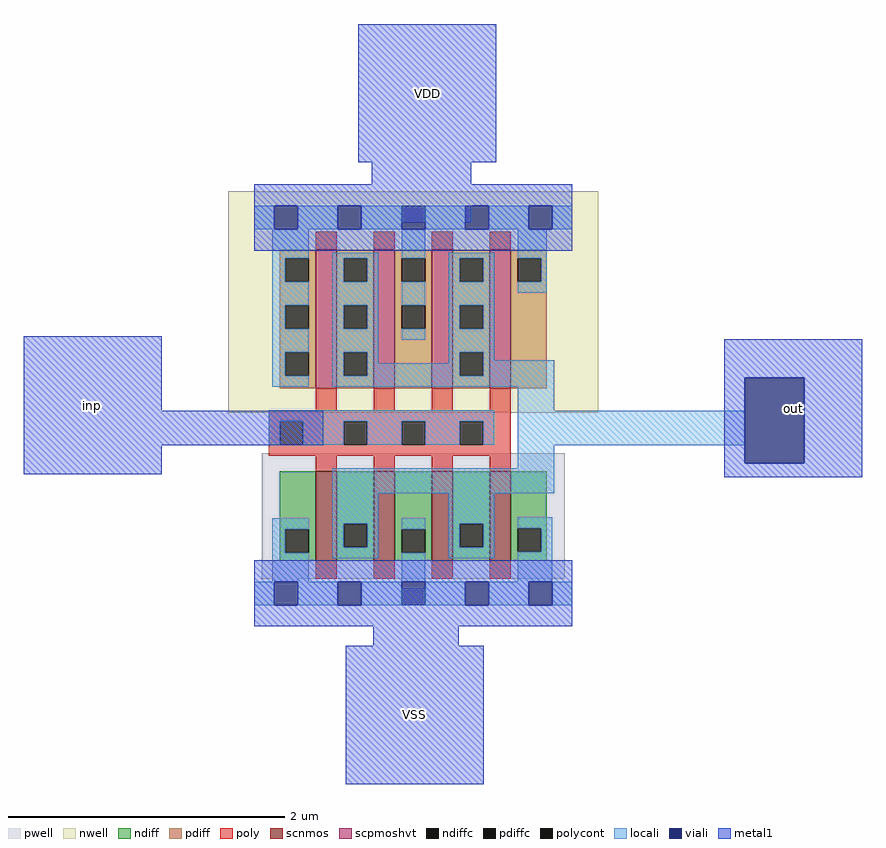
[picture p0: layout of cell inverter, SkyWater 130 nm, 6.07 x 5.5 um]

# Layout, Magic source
magic
tech sky130A
<< locali >>
rect 628 -276 781 -251
<< viali >>
rect 781 -289 824 -227
<< metal1 >>
rect 501 -71 601 29
rect 511 -115 583 -71
rect 259 -251 359 -197
rect 766 -227 866 -199
rect 259 -276 476 -251
rect 259 -297 359 -276
rect 766 -289 781 -227
rect 824 -289 866 -227
rect 766 -299 866 -289
rect 512 -421 574 -379
rect 492 -521 592 -421
use sky130_fd_sc_hd__inv_4  x4 $PDKPATH/libs.ref/sky130_fd_sc_hd/mag
transform 1 0 426 0 1 -383
box -19 -24 249 296
<< labels >>
flabel metal1 501 -71 601 29 0 FreeSans 128 0 0 0 VDD
port 0 nsew
flabel metal1 492 -521 592 -421 0 FreeSans 128 0 0 0 VSS
port 3 nsew
flabel metal1 259 -297 359 -197 0 FreeSans 128 0 0 0 inp
port 1 nsew
flabel metal1 766 -299 866 -199 0 FreeSans 128 0 0 0 out
port 2 nsew
<< end >>

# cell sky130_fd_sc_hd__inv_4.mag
magic
tech sky130A
magscale 1 2
<< nwell >>
rect -38 261 498 582
<< pwell >>
rect 11 21 449 203
rect 29 -17 63 21
<< scnmos >>
rect 89 47 119 177
rect 173 47 203 177
rect 257 47 287 177
rect 341 47 371 177
<< scpmoshvt >>
rect 89 297 119 497
rect 173 297 203 497
rect 257 297 287 497
rect 341 297 371 497
<< ndiff >>
rect 37 93 89 177
rect 37 59 45 93
rect 79 59 89 93
rect 37 47 89 59
rect 119 101 173 177
rect 119 67 129 101
rect 163 67 173 101
rect 119 47 173 67
rect 203 93 257 177
rect 203 59 213 93
rect 247 59 257 93
rect 203 47 257 59
rect 287 101 341 177
rect 287 67 297 101
rect 331 67 341 101
rect 287 47 341 67
rect 371 94 423 177
rect 371 60 381 94
rect 415 60 423 94
rect 371 47 423 60
<< pdiff >>
rect 37 485 89 497
rect 37 451 45 485
rect 79 451 89 485
rect 37 417 89 451
rect 37 383 45 417
rect 79 383 89 417
rect 37 349 89 383
rect 37 315 45 349
rect 79 315 89 349
rect 37 297 89 315
rect 119 485 173 497
rect 119 451 129 485
rect 163 451 173 485
rect 119 417 173 451
rect 119 383 129 417
rect 163 383 173 417
rect 119 349 173 383
rect 119 315 129 349
rect 163 315 173 349
rect 119 297 173 315
rect 203 485 257 497
rect 203 451 213 485
rect 247 451 257 485
rect 203 417 257 451
rect 203 383 213 417
rect 247 383 257 417
rect 203 297 257 383
rect 287 485 341 497
rect 287 451 297 485
rect 331 451 341 485
rect 287 417 341 451
rect 287 383 297 417
rect 331 383 341 417
rect 287 349 341 383
rect 287 315 297 349
rect 331 315 341 349
rect 287 297 341 315
rect 371 485 423 497
rect 371 451 381 485
rect 415 451 423 485
rect 371 297 423 451
<< ndiffc >>
rect 45 59 79 93
rect 129 67 163 101
rect 213 59 247 93
rect 297 67 331 101
rect 381 60 415 94
<< pdiffc >>
rect 45 451 79 485
rect 45 383 79 417
rect 45 315 79 349
rect 129 451 163 485
rect 129 383 163 417
rect 129 315 163 349
rect 213 451 247 485
rect 213 383 247 417
rect 297 451 331 485
rect 297 383 331 417
rect 297 315 331 349
rect 381 451 415 485
<< poly >>
rect 89 497 119 523
rect 173 497 203 523
rect 257 497 287 523
rect 341 497 371 523
rect 89 265 119 297
rect 173 265 203 297
rect 257 265 287 297
rect 341 265 371 297
rect 21 249 371 265
rect 21 215 37 249
rect 71 215 129 249
rect 163 215 213 249
rect 247 215 297 249
rect 331 215 371 249
rect 21 199 371 215
rect 89 177 119 199
rect 173 177 203 199
rect 257 177 287 199
rect 341 177 371 199
rect 89 21 119 47
rect 173 21 203 47
rect 257 21 287 47
rect 341 21 371 47
<< polycont >>
rect 37 215 71 249
rect 129 215 163 249
rect 213 215 247 249
rect 297 215 331 249
<< locali >>
rect 0 527 29 561
rect 63 527 121 561
rect 155 527 213 561
rect 247 527 305 561
rect 339 527 397 561
rect 431 527 460 561
rect 26 485 79 527
rect 26 451 45 485
rect 26 417 79 451
rect 26 383 45 417
rect 26 349 79 383
rect 26 315 45 349
rect 26 299 79 315
rect 113 485 179 493
rect 113 451 129 485
rect 163 451 179 485
rect 113 417 179 451
rect 113 383 129 417
rect 163 383 179 417
rect 113 349 179 383
rect 213 485 247 527
rect 213 417 247 451
rect 213 367 247 383
rect 281 485 347 493
rect 281 451 297 485
rect 331 451 347 485
rect 281 417 347 451
rect 381 485 423 527
rect 415 451 423 485
rect 381 435 423 451
rect 281 383 297 417
rect 331 383 347 417
rect 113 315 129 349
rect 163 333 179 349
rect 281 349 347 383
rect 281 333 297 349
rect 163 315 297 333
rect 331 337 347 349
rect 331 315 434 337
rect 113 299 434 315
rect 21 249 347 265
rect 21 215 37 249
rect 71 215 129 249
rect 163 215 213 249
rect 247 215 297 249
rect 331 215 347 249
rect 381 181 434 299
rect 113 145 434 181
rect 26 93 79 109
rect 26 59 45 93
rect 26 17 79 59
rect 113 101 179 145
rect 113 67 129 101
rect 163 67 179 101
rect 113 51 179 67
rect 213 93 247 109
rect 213 17 247 59
rect 281 101 347 145
rect 281 67 297 101
rect 331 67 347 101
rect 281 51 347 67
rect 381 94 431 110
rect 415 60 431 94
rect 381 17 431 60
rect 0 -17 29 17
rect 63 -17 121 17
rect 155 -17 213 17
rect 247 -17 305 17
rect 339 -17 397 17
rect 431 -17 460 17
<< viali >>
rect 29 527 63 561
rect 121 527 155 561
rect 213 527 247 561
rect 305 527 339 561
rect 397 527 431 561
rect 29 -17 63 17
rect 121 -17 155 17
rect 213 -17 247 17
rect 305 -17 339 17
rect 397 -17 431 17
<< metal1 >>
rect 0 561 460 592
rect 0 527 29 561
rect 63 527 121 561
rect 155 527 213 561
rect 247 527 305 561
rect 339 527 397 561
rect 431 527 460 561
rect 0 496 460 527
rect 0 17 460 48
rect 0 -17 29 17
rect 63 -17 121 17
rect 155 -17 213 17
rect 247 -17 305 17
rect 339 -17 397 17
rect 431 -17 460 17
rect 0 -48 460 -17
<< labels >>
flabel locali s 397 153 431 187 0 FreeSans 340 0 0 0 Y
port 6 nsew
flabel locali s 397 221 431 255 0 FreeSans 340 0 0 0 Y
port 6 nsew
flabel locali s 397 289 431 323 0 FreeSans 340 0 0 0 Y
port 6 nsew
flabel locali s 29 221 63 255 0 FreeSans 340 0 0 0 A
port 7 nsew
flabel locali s 121 221 155 255 0 FreeSans 340 0 0 0 A
port 7 nsew
flabel locali s 213 221 247 255 0 FreeSans 340 0 0 0 A
port 7 nsew
flabel locali s 305 221 339 255 0 FreeSans 340 0 0 0 A
port 7 nsew
flabel nwell s 29 527 63 561 0 FreeSans 200 0 0 0 VPB
port 2 nsew
flabel pwell s 29 -17 63 17 0 FreeSans 200 0 0 0 VNB
port 3 nsew
flabel metal1 s 29 527 63 561 0 FreeSans 200 0 0 0 VPWR
port 4 nsew
flabel metal1 s 29 -17 63 17 0 FreeSans 200 0 0 0 VGND
port 5 nsew
rlabel comment s 0 0 0 0 4 inv_4
<< properties >>
string FIXED_BBOX 0 0 460 544
string path 0.000 0.000 2.300 0.000 
<< end >>
